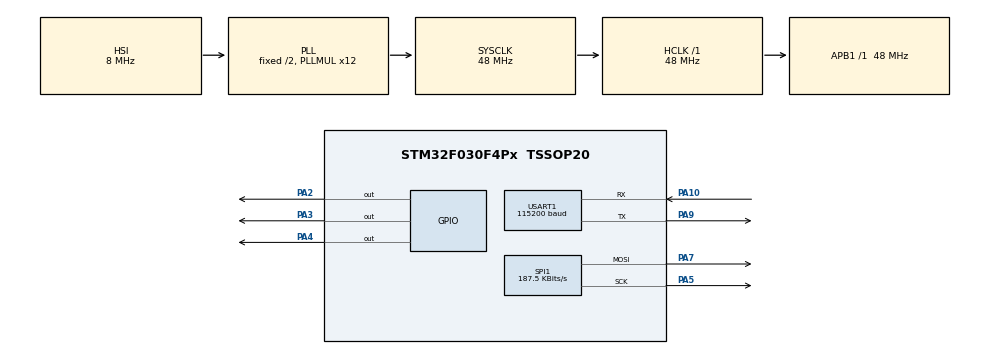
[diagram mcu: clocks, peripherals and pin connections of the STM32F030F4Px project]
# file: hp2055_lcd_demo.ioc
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Mcu.Family=STM32F0
Mcu.Name=STM32F030F4Px
Mcu.Package=TSSOP20
NVIC.TIM1_BRK_UP_TRG_COM_IRQn=true\:0\:0\:false\:false\:true\:true\:true\:true
PA10.Mode=Asynchronous
PA10.Signal=USART1_RX
PA13.Mode=Serial_Wire
PA13.Signal=SYS_SWDIO
PA14.Mode=Serial_Wire
PA14.Signal=SYS_SWCLK
PA2.Signal=GPIO_Output
PA3.Signal=GPIO_Output
PA4.Signal=GPIO_Output
PA5.Mode=TX_Only_Simplex_Unidirect_Master
PA5.Signal=SPI1_SCK
PA7.Mode=TX_Only_Simplex_Unidirect_Master
PA7.Signal=SPI1_MOSI
PA9.Mode=Asynchronous
PA9.Signal=USART1_TX
ProjectManager.HeapSize=0x200
ProjectManager.StackSize=0x400
ProjectManager.TargetToolchain=Makefile
RCC.AHBFreq_Value=48000000
RCC.APB1Freq_Value=48000000
RCC.APB1TimFreq_Value=48000000
RCC.HCLKFreq_Value=48000000
RCC.PLLMUL=RCC_PLL_MUL12
RCC.SYSCLKFreq_VALUE=48000000
RCC.SYSCLKSource=RCC_SYSCLKSOURCE_PLLCLK
SPI1.BaudRatePrescaler=SPI_BAUDRATEPRESCALER_256
SPI1.CLKPhase=SPI_PHASE_2EDGE
SPI1.CLKPolarity=SPI_POLARITY_HIGH
SPI1.CalculateBaudRate=187.5 KBits/s
SPI1.DataSize=SPI_DATASIZE_8BIT
SPI1.Direction=SPI_DIRECTION_2LINES
SPI1.Mode=SPI_MODE_MASTER
SPI1.VirtualType=VM_MASTER
TIM1.Period=100
TIM1.Prescaler=479
USART1.BaudRate=115200
USART1.VirtualMode-Asynchronous=VM_ASYNC
VP_TIM1_VS_ClockSourceINT.Mode=Internal
board=custom

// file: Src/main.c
/* USER CODE BEGIN Header */
/**
  ******************************************************************************
  * @file           : main.c
  * @brief          : Main program body
  ******************************************************************************
  * @attention
  *
  * Copyright (c) 2024 STMicroelectronics.
  * All rights reserved.
  *
  * This software is licensed under terms that can be found in the LICENSE file
  * in the root directory of this software component.
  * If no LICENSE file comes with this software, it is provided AS-IS.
  *
  ******************************************************************************
  */
/* USER CODE END Header */
#include "main.h"
#include "spi.h"
#include "tim.h"
#include "usart.h"
#include "gpio.h"

/* USER CODE BEGIN Includes */
#include "hp2055_lcd.h"
/* USER CODE END Includes */

/* USER CODE BEGIN PM */
#define uart( x ) HAL_UART_Transmit(&huart1, (uint8_t*) x, sizeof( x ), 1000);
#define delay_ms( x ) HAL_Delay( x );

/* USER CODE END PM */

void SystemClock_Config(void);

/* USER CODE BEGIN 0 */
uint32_t millis = 0;
void HAL_TIM_PeriodElapsedCallback(TIM_HandleTypeDef *htim) {
  if(htim->Instance == TIM1) //check if the interrupt comes from TIM1
  {
    millis++; // one time for 1ms
  }
}

/* USER CODE END 0 */

int main(void)
{

  /* MCU Configuration--------------------------------------------------------*/

  /* Reset of all peripherals, Initializes the Flash interface and the Systick. */
  HAL_Init();

  /* Configure the system clock */
  SystemClock_Config();

  /* Initialize all configured peripherals */
  MX_GPIO_Init();
  MX_SPI1_Init();
  MX_TIM1_Init();
  MX_USART1_UART_Init();
  /* USER CODE BEGIN 2 */
  HAL_TIM_Base_Start_IT(&htim1); // for millis
  lcd_init();
  lcd_set_cursor(0, 1);
  lcd_send_str("hello world");
  /* USER CODE END 2 */

  /* Infinite loop */
  /* USER CODE BEGIN WHILE */
  char num_buf[16] = {0};
  while (1)
  {
    sprintf(num_buf, "%ld", millis);
    lcd_set_cursor(0, 0);
    lcd_send_str(num_buf);
    /* USER CODE END WHILE */

  }
}

void SystemClock_Config(void)
{
  RCC_OscInitTypeDef RCC_OscInitStruct = {0};
  RCC_ClkInitTypeDef RCC_ClkInitStruct = {0};
  RCC_PeriphCLKInitTypeDef PeriphClkInit = {0};

  /** Initializes the RCC Oscillators according to the specified parameters
  * in the RCC_OscInitTypeDef structure.
  */
  RCC_OscInitStruct.OscillatorType = RCC_OSCILLATORTYPE_HSI;
  RCC_OscInitStruct.HSIState = RCC_HSI_ON;
  RCC_OscInitStruct.HSICalibrationValue = RCC_HSICALIBRATION_DEFAULT;
  RCC_OscInitStruct.PLL.PLLState = RCC_PLL_ON;
  RCC_OscInitStruct.PLL.PLLSource = RCC_PLLSOURCE_HSI;
  RCC_OscInitStruct.PLL.PLLMUL = RCC_PLL_MUL12;
  RCC_OscInitStruct.PLL.PREDIV = RCC_PREDIV_DIV1;
  if (HAL_RCC_OscConfig(&RCC_OscInitStruct) != HAL_OK)
  {
    Error_Handler();
  }

  /** Initializes the CPU, AHB and APB buses clocks
  */
  RCC_ClkInitStruct.ClockType = RCC_CLOCKTYPE_HCLK|RCC_CLOCKTYPE_SYSCLK
                              |RCC_CLOCKTYPE_PCLK1;
  RCC_ClkInitStruct.SYSCLKSource = RCC_SYSCLKSOURCE_PLLCLK;
  RCC_ClkInitStruct.AHBCLKDivider = RCC_SYSCLK_DIV1;
  RCC_ClkInitStruct.APB1CLKDivider = RCC_HCLK_DIV1;

  if (HAL_RCC_ClockConfig(&RCC_ClkInitStruct, FLASH_LATENCY_1) != HAL_OK)
  {
    Error_Handler();
  }
  PeriphClkInit.PeriphClockSelection = RCC_PERIPHCLK_USART1;
  PeriphClkInit.Usart1ClockSelection = RCC_USART1CLKSOURCE_PCLK1;
  if (HAL_RCCEx_PeriphCLKConfig(&PeriphClkInit) != HAL_OK)
  {
    Error_Handler();
  }
}

void Error_Handler(void)
{
  __disable_irq();
  while (1)
  {
  }
}
